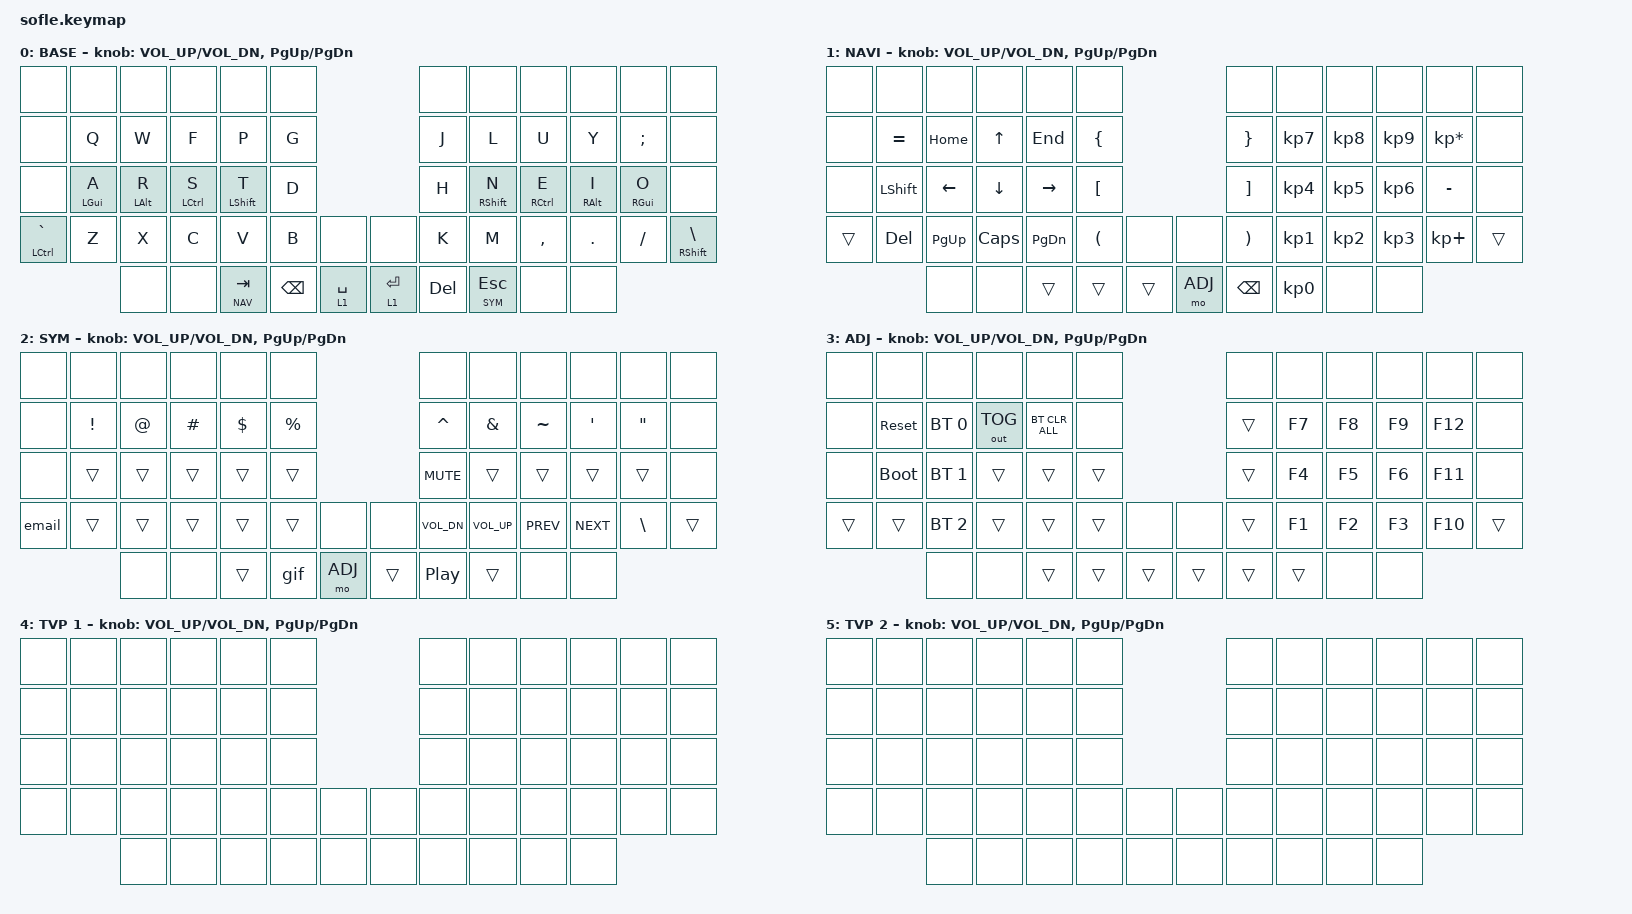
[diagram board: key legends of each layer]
/*
 * Copyright (c) 2020 The ZMK Contributors
 *
 * SPDX-License-Identifier: MIT
 */

#include <behaviors.dtsi>
#include <dt-bindings/zmk/bt.h>
#include <dt-bindings/zmk/keys.h>
#include <dt-bindings/zmk/outputs.h>

#define BASE 0
#define NAV  1
#define SYM  2
#define ADJ  3
#define TVP1 4
#define TVP2 5

&mt {
    global-quick-tap;
    flavor = "tap-preferred";
};

/ {
    combos {
        compatible = "zmk,combos";

        combo_esc {
            timeout-ms = <50>;
            key-positions = <14 13>;
            bindings = <&kp ESC>;
        };

        combo_tvp {
            timeout-ms = <100>;
            key-positions = <26 27 28>;
            bindings = <&tog TVP1>;
        };

        combo_tvp2 {
            bindings = <&tog 5>;
            key-positions = <20 21 19>;
        };
    };

    macros {
        gif: gif {
            label = "giphy";
            compatible = "zmk,behavior-macro";
            #binding-cells = <0>;
            bindings =
                <&macro_press>,
                <&kp LSHFT>,
                <&macro_tap>,
                <&kp N2>,
                <&macro_release>,
                <&kp LSHFT>,
                <&macro_tap>,
                <&kp G &kp I &kp F>;
        };

        email: email {
            compatible = "zmk,behavior-macro";
            #binding-cells = <0>;
            bindings = <&kp B &kp R &kp I &kp A &kp N &kp AT &kp W &kp A &kp L &kp T &kp E &kp R &kp S &kp DOT &kp G &kp U &kp R &kp U>;
            label = "EMAIL";
        };
    };

    keymap {
        compatible = "zmk,keymap";

        // ▄▄▄▄▄▄▄▄▄▄▄▄▄▄▄▄▄▄▄▄▄▄▄▄▄▄▄▄▄▄▄▄▄▄▄▄▄▄▄▄▄▄▄▄▄▄▄▄▄▄▄▄▄▄▄▄▄▄▄▄▄▄▄▄▄▄▄▄▄▄▄▄▄▄▄▄▄▄▄▄▄▄▄▄▄▄▄▄▄▄▄▄▄▄▄▄▄▄▄▄▄▄▄▄▄▄▄▄▄▄▄▄▄▄▄▄▄▄▄▄▄▄▄▄▄▄▄▄▄▄▄▄▄▄▄▄▄▄▄▄▄▄▄▄▄▄▄▄▄

        base_layer {
            // ┏━━━━━━━━━━━━━━━━━━━━━━━━━━━━━━━━━━━━━━━┓

            label = "BASE";

            // ┗━━━━━━━━━━━━━━━━━━━━━━━━━━━━━━━━━━━━━━━┛
            // ┏━━━━━━━━━━━┳━━━━━━━━━━━┳━━━━━━━━━━━┳━━━━━━━━━━━┳━━━━━━━━━━━┳━━━━━━━━━━━┓                           ┏━━━━━━━━━━━┳━━━━━━━━━━━┳━━━━━━━━━━━┳━━━━━━━━━━━┳━━━━━━━━━━━┳━━━━━━━━━━━┓
            // ┃           ┃           ┃           ┃           ┃           ┃           ┃                           ┃           ┃           ┃           ┃           ┃           ┃           ┃
            // ┣━━━━━━━━━━━╋━━━━━━━━━━━╋━━━━━━━━━━━╋━━━━━━━━━━━╋━━━━━━━━━━━╋━━━━━━━━━━━┫                           ┣━━━━━━━━━━━╋━━━━━━━━━━━╋━━━━━━━━━━━╋━━━━━━━━━━━╋━━━━━━━━━━━╋━━━━━━━━━━━┫
            // ┃           ┃     Q     ┃     W     ┃     F     ┃     P     ┃     G     ┃                           ┃     J     ┃     L     ┃     U     ┃     Y     ┃     ;     ┃           ┃
            // ┣━━━━━━━━━━━╋━━━━━━━━━━━╋━━━━━━━━━━━╋━━━━━━━━━━━╋━━━━━━━━━━━╋━━━━━━━━━━━┫                           ┣━━━━━━━━━━━╋━━━━━━━━━━━╋━━━━━━━━━━━╋━━━━━━━━━━━╋━━━━━━━━━━━╋━━━━━━━━━━━┫
            // ┃           ┃     A     ┃     R     ┃     S     ┃     T     ┃     D     ┃                           ┃     H     ┃     N     ┃     E     ┃     I     ┃     O     ┃           ┃
            // ┣━━━━━━━━━━━╋━━━━━━━━━━━╋━━━━━━━━━━━╋━━━━━━━━━━━╋━━━━━━━━━━━╋━━━━━━━━━━━╋━━━━━━━━━━━┓   ┏━━━━━━━━━━━╋━━━━━━━━━━━╋━━━━━━━━━━━╋━━━━━━━━━━━╋━━━━━━━━━━━╋━━━━━━━━━━━╋━━━━━━━━━━━┫
            // ┃     `     ┃     Z     ┃     X     ┃     C     ┃     V     ┃     B     ┃           ┃   ┃           ┃     K     ┃     M     ┃     ,     ┃     .     ┃     /     ┃     \     ┃
            // ┗━━━━━━━━━━━┻━━━━━━━━━━━╋━━━━━━━━━━━╋━━━━━━━━━━━╋━━━━━━━━━━━╋━━━━━━━━━━━╋━━━━━━━━━━━┫   ┣━━━━━━━━━━━╋━━━━━━━━━━━╋━━━━━━━━━━━╋━━━━━━━━━━━╋━━━━━━━━━━━╋━━━━━━━━━━━┻━━━━━━━━━━━┛
            //                         ┃           ┃           ┃    TAB    ┃   BSPC    ┃    SPC    ┃   ┃   ENTER   ┃    DEL    ┃    ESC    ┃           ┃           ┃
            //                         ┗━━━━━━━━━━━┻━━━━━━━━━━━┗━━━━━━━━━━━┻━━━━━━━━━━━┻━━━━━━━━━━━┛   ┗━━━━━━━━━━━┻━━━━━━━━━━━┻━━━━━━━━━━━┻━━━━━━━━━━━┻━━━━━━━━━━━┛

            bindings = <
&none                   &none       &none       &none        &none        &none                               &none    &none        &none        &none       &none       &none
&none                   &kp Q       &kp W       &kp F        &kp P        &kp G                               &kp J    &kp L        &kp U        &kp Y       &kp SEMI    &none
&none                   &mt LGUI A  &mt LALT R  &mt LCTRL S  &mt LSHFT T  &kp D                               &kp H    &mt RSHFT N  &mt RCTRL E  &mt RALT I  &mt RGUI O  &none
&mt LEFT_CONTROL GRAVE  &kp Z       &kp X       &kp C        &kp V        &kp B     &none          &none      &kp K    &kp M        &kp COMMA    &kp DOT     &kp FSLH    &mt RIGHT_SHIFT BACKSLASH
                                    &none       &none        &lt NAV TAB  &kp BSPC  &lt 1 SPACE    &lt 1 RET  &kp DEL  &lt SYM ESC  &none        &none
            >;

            sensor-bindings = <&inc_dec_kp C_VOL_UP C_VOL_DN &inc_dec_kp PG_UP PG_DN>;
        };

        // ▄▄▄▄▄▄▄▄▄▄▄▄▄▄▄▄▄▄▄▄▄▄▄▄▄▄▄▄▄▄▄▄▄▄▄▄▄▄▄▄▄▄▄▄▄▄▄▄▄▄▄▄▄▄▄▄▄▄▄▄▄▄▄▄▄▄▄▄▄▄▄▄▄▄▄▄▄▄▄▄▄▄▄▄▄▄▄▄▄▄▄▄▄▄▄▄▄▄▄▄▄▄▄▄▄▄▄▄▄▄▄▄▄▄▄▄▄▄▄▄▄▄▄▄▄▄▄▄▄▄▄▄▄▄▄▄▄▄▄▄▄▄▄▄▄▄▄▄▄

        nav_layer {
            // ┏━━━━━━━━━━━━━━━━━━━━━━━━━━━━━━━━━━━━━━━┓

            label = "NAVI";

            // ┗━━━━━━━━━━━━━━━━━━━━━━━━━━━━━━━━━━━━━━━┛
            // ┏━━━━━━━━━━━┳━━━━━━━━━━━┳━━━━━━━━━━━┳━━━━━━━━━━━┳━━━━━━━━━━━┳━━━━━━━━━━━┓                           ┏━━━━━━━━━━━┳━━━━━━━━━━━┳━━━━━━━━━━━┳━━━━━━━━━━━┳━━━━━━━━━━━┳━━━━━━━━━━━┓
            // ┃           ┃           ┃           ┃           ┃           ┃           ┃                           ┃           ┃           ┃           ┃           ┃           ┃           ┃
            // ┣━━━━━━━━━━━┣━━━━━━━━━━━╋━━━━━━━━━━━╋━━━━━━━━━━━╋━━━━━━━━━━━╋━━━━━━━━━━━┫                           ┣━━━━━━━━━━━╋━━━━━━━━━━━╋━━━━━━━━━━━╋━━━━━━━━━━━╋━━━━━━━━━━━╋━━━━━━━━━━━┫
            // ┃           ┃           ┃   HOME    ┃     UP    ┃    END    ┃     {     ┃                           ┃     }     ┃     7     ┃     8     ┃     9     ┃     +     ┃           ┃
            // ┣━━━━━━━━━━━╋━━━━━━━━━━━╋━━━━━━━━━━━╋━━━━━━━━━━━╋━━━━━━━━━━━╋━━━━━━━━━━━┫                           ┣━━━━━━━━━━━╋━━━━━━━━━━━╋━━━━━━━━━━━╋━━━━━━━━━━━╋━━━━━━━━━━━╋━━━━━━━━━━━┫
            // ┃           ┃   SHIFT   ┃   LEFT    ┃    DOWN   ┃   RIGHT   ┃     [     ┃                           ┃     ]     ┃     4     ┃     5     ┃     6     ┃     -     ┃           ┃
            // ┣━━━━━━━━━━━╋━━━━━━━━━━━╋━━━━━━━━━━━╋━━━━━━━━━━━╋━━━━━━━━━━━╋━━━━━━━━━━━╋━━━━━━━━━━━┓   ┏━━━━━━━━━━━╋━━━━━━━━━━━╋━━━━━━━━━━━╋━━━━━━━━━━━╋━━━━━━━━━━━╋━━━━━━━━━━━╋━━━━━━━━━━━┫
            // ┃           ┃           ┃   P UP    ┃  C LOCK   ┃  P DOWN   ┃     (     ┃           ┃   ┃           ┃     )     ┃     1     ┃     2     ┃     3     ┃     *     ┃           ┃
            // ┗━━━━━━━━━━━┻━━━━━━━━━━━╋━━━━━━━━━━━╋━━━━━━━━━━━╋━━━━━━━━━━━╋━━━━━━━━━━━╋━━━━━━━━━━━┫   ┣━━━━━━━━━━━╋━━━━━━━━━━━╋━━━━━━━━━━━╋━━━━━━━━━━━╋━━━━━━━━━━━╋━━━━━━━━━━━┻━━━━━━━━━━━┛
            //                         ┃           ┃           ┃    TAB    ┃    BSPC   ┃    SPC    ┃   ┃   ENTER   ┃    DEL    ┃     0     ┃           ┃           ┃
            //                         ┗━━━━━━━━━━━┻━━━━━━━━━━━┻━━━━━━━━━━━┻━━━━━━━━━━━┻━━━━━━━━━━━┛   ┗━━━━━━━━━━━┻━━━━━━━━━━━┻━━━━━━━━━━━┻━━━━━━━━━━━┻━━━━━━━━━━━┛

            bindings = <
&none   &none       &none           &none     &none            &none                        &none          &none      &none      &none      &none            &none
&none   &kp EQUAL   &kp HOME        &kp UP    &kp END          &kp LBRC                     &kp RBRC       &kp KP_N7  &kp KP_N8  &kp KP_N9  &kp KP_MULTIPLY  &none
&none   &kp LSHFT   &kp LEFT_ARROW  &kp DOWN  &kp RIGHT_ARROW  &kp LBKT                     &kp RBKT       &kp KP_N4  &kp KP_N5  &kp KP_N6  &kp MINUS        &none
&trans  &kp DELETE  &kp PG_UP       &kp CAPS  &kp PG_DN        &kp LPAR  &none     &none    &kp RPAR       &kp KP_N1  &kp KP_N2  &kp KP_N3  &kp KP_PLUS      &trans
                    &none           &none     &trans           &trans    &trans    &mo ADJ  &kp BACKSPACE  &kp KP_N0  &none      &none
            >;

            sensor-bindings = <&inc_dec_kp C_VOL_UP C_VOL_DN &inc_dec_kp PG_UP PG_DN>;
        };

        // ▄▄▄▄▄▄▄▄▄▄▄▄▄▄▄▄▄▄▄▄▄▄▄▄▄▄▄▄▄▄▄▄▄▄▄▄▄▄▄▄▄▄▄▄▄▄▄▄▄▄▄▄▄▄▄▄▄▄▄▄▄▄▄▄▄▄▄▄▄▄▄▄▄▄▄▄▄▄▄▄▄▄▄▄▄▄▄▄▄▄▄▄▄▄▄▄▄▄▄▄▄▄▄▄▄▄▄▄▄▄▄▄▄▄▄▄▄▄▄▄▄▄▄▄▄▄▄▄▄▄▄▄▄▄▄▄▄▄▄▄▄▄▄▄▄▄▄▄▄

        sim_layer {
            // ┏━━━━━━━━━━━━━━━━━━━━━━━━━━━━━━━━━━━━━━━┓

            label = "SYM";

            // ┗━━━━━━━━━━━━━━━━━━━━━━━━━━━━━━━━━━━━━━━┛
            // ┏━━━━━━━━━━━┳━━━━━━━━━━━┳━━━━━━━━━━━┳━━━━━━━━━━━┳━━━━━━━━━━━┳━━━━━━━━━━━┓                           ┏━━━━━━━━━━━┳━━━━━━━━━━━┳━━━━━━━━━━━┳━━━━━━━━━━━┳━━━━━━━━━━━┳━━━━━━━━━━━┓
            // ┃           ┃           ┃           ┃           ┃           ┃           ┃                           ┃           ┃           ┃           ┃           ┃           ┃           ┃
            // ┣━━━━━━━━━━━┣━━━━━━━━━━━╋━━━━━━━━━━━╋━━━━━━━━━━━╋━━━━━━━━━━━╋━━━━━━━━━━━┫                           ┣━━━━━━━━━━━╋━━━━━━━━━━━╋━━━━━━━━━━━╋━━━━━━━━━━━╋━━━━━━━━━━━╋━━━━━━━━━━━┫
            // ┃           ┃     !     ┃     @     ┃     #     ┃     $     ┃     %     ┃                           ┃     ˆ     ┃     &     ┃     ~     ┃     '     ┃     "     ┃           ┃
            // ┣━━━━━━━━━━━╋━━━━━━━━━━━╋━━━━━━━━━━━╋━━━━━━━━━━━╋━━━━━━━━━━━╋━━━━━━━━━━━┫                           ┣━━━━━━━━━━━╋━━━━━━━━━━━╋━━━━━━━━━━━╋━━━━━━━━━━━╋━━━━━━━━━━━╋━━━━━━━━━━━┫
            // ┃           ┃           ┃           ┃           ┃           ┃           ┃                           ┃   MUTE    ┃           ┃           ┃           ┃     Ö     ┃           ┃
            // ┣━━━━━━━━━━━╋━━━━━━━━━━━╋━━━━━━━━━━━╋━━━━━━━━━━━╋━━━━━━━━━━━╋━━━━━━━━━━━╋━━━━━━━━━━━┓   ┏━━━━━━━━━━━╋━━━━━━━━━━━╋━━━━━━━━━━━╋━━━━━━━━━━━╋━━━━━━━━━━━╋━━━━━━━━━━━╋━━━━━━━━━━━┫
            // ┃           ┃           ┃           ┃           ┃           ┃           ┃           ┃   ┃           ┃   VOL-    ┃   VOL+    ┃   LAST    ┃   NEXT    ┃     \     ┃           ┃
            // ┗━━━━━━━━━━━┻━━━━━━━━━━━╋━━━━━━━━━━━╋━━━━━━━━━━━╋━━━━━━━━━━━╋━━━━━━━━━━━╋━━━━━━━━━━━┫   ┣━━━━━━━━━━━╋━━━━━━━━━━━╋━━━━━━━━━━━╋━━━━━━━━━━━╋━━━━━━━━━━━╋━━━━━━━━━━━┻━━━━━━━━━━━┛
            //                         ┃           ┃           ┃           ┃    GIF    ┃    ADJ    ┃   ┃           ┃   PLAY    ┃           ┃           ┃           ┃
            //                         ┗━━━━━━━━━━━┻━━━━━━━━━━━┻━━━━━━━━━━━┻━━━━━━━━━━━┻━━━━━━━━━━━┛   ┗━━━━━━━━━━━┻━━━━━━━━━━━┻━━━━━━━━━━━┻━━━━━━━━━━━┻━━━━━━━━━━━┛ 

            bindings = <
&none   &none     &none   &none     &none     &none                         &none         &none         &none       &none       &none     &none
&none   &kp EXCL  &kp AT  &kp HASH  &kp DLLR  &kp PRCNT                     &kp CARET     &kp AMPS      &kp TILDE   &kp SQT     &kp DQT   &none
&none   &trans    &trans  &trans    &trans    &trans                        &kp C_MUTE    &trans        &trans      &trans      &trans    &none
&email  &trans    &trans  &trans    &trans    &trans     &none      &none   &kp C_VOL_DN  &kp C_VOL_UP  &kp C_PREV  &kp C_NEXT  &kp BSLH  &trans
                  &none   &none     &trans    &gif       &mo ADJ    &trans  &kp C_PP      &trans        &none       &none
            >;

            sensor-bindings = <&inc_dec_kp C_VOL_UP C_VOL_DN &inc_dec_kp PG_UP PG_DN>;
        };

        // ▄▄▄▄▄▄▄▄▄▄▄▄▄▄▄▄▄▄▄▄▄▄▄▄▄▄▄▄▄▄▄▄▄▄▄▄▄▄▄▄▄▄▄▄▄▄▄▄▄▄▄▄▄▄▄▄▄▄▄▄▄▄▄▄▄▄▄▄▄▄▄▄▄▄▄▄▄▄▄▄▄▄▄▄▄▄▄▄▄▄▄▄▄▄▄▄▄▄▄▄▄▄▄▄▄▄▄▄▄▄▄▄▄▄▄▄▄▄▄▄▄▄▄▄▄▄▄▄▄▄▄▄▄▄▄▄▄▄▄▄▄▄▄▄▄▄▄▄▄

        adjust_layer {
            // ┏━━━━━━━━━━━━━━━━━━━━━━━━━━━━━━━━━━━━━━━┓

            label = "ADJ";

            // ┗━━━━━━━━━━━━━━━━━━━━━━━━━━━━━━━━━━━━━━━┛
            // ┏━━━━━━━━━━━┳━━━━━━━━━━━┳━━━━━━━━━━━┳━━━━━━━━━━━┳━━━━━━━━━━━┳━━━━━━━━━━━┓                           ┏━━━━━━━━━━━┳━━━━━━━━━━━┳━━━━━━━━━━━┳━━━━━━━━━━━┳━━━━━━━━━━━┳━━━━━━━━━━━┓
            // ┃           ┃           ┃           ┃           ┃           ┃           ┃                           ┃           ┃           ┃           ┃           ┃           ┃           ┃
            // ┣━━━━━━━━━━━┣━━━━━━━━━━━╋━━━━━━━━━━━╋━━━━━━━━━━━╋━━━━━━━━━━━╋━━━━━━━━━━━┫                           ┣━━━━━━━━━━━╋━━━━━━━━━━━╋━━━━━━━━━━━╋━━━━━━━━━━━╋━━━━━━━━━━━╋━━━━━━━━━━━┫
            // ┃           ┃   RESET   ┃ BT SEL 0  ┃  OUT TOG  ┃ BT CLR ALL┃           ┃                           ┃           ┃    F7     ┃    F8     ┃    F9     ┃    F12    ┃           ┃
            // ┣━━━━━━━━━━━╋━━━━━━━━━━━╋━━━━━━━━━━━╋━━━━━━━━━━━╋━━━━━━━━━━━╋━━━━━━━━━━━┫                           ┣━━━━━━━━━━━╋━━━━━━━━━━━╋━━━━━━━━━━━╋━━━━━━━━━━━╋━━━━━━━━━━━╋━━━━━━━━━━━┫
            // ┃           ┃ BOOTLOAD  ┃ BT SEL 1  ┃           ┃           ┃           ┃                           ┃           ┃    F4     ┃    F5     ┃    F6     ┃    F11    ┃           ┃
            // ┣━━━━━━━━━━━╋━━━━━━━━━━━╋━━━━━━━━━━━╋━━━━━━━━━━━╋━━━━━━━━━━━╋━━━━━━━━━━━╋━━━━━━━━━━━┓   ┏━━━━━━━━━━━╋━━━━━━━━━━━╋━━━━━━━━━━━╋━━━━━━━━━━━╋━━━━━━━━━━━╋━━━━━━━━━━━╋━━━━━━━━━━━┫
            // ┃           ┃           ┃ BT SEL 2  ┃           ┃           ┃           ┃           ┃   ┃           ┃           ┃    F1     ┃    F2     ┃    F3     ┃    F10    ┃           ┃
            // ┗━━━━━━━━━━━┻━━━━━━━━━━━╋━━━━━━━━━━━╋━━━━━━━━━━━╋━━━━━━━━━━━╋━━━━━━━━━━━╋━━━━━━━━━━━┫   ┣━━━━━━━━━━━╋━━━━━━━━━━━╋━━━━━━━━━━━╋━━━━━━━━━━━╋━━━━━━━━━━━╋━━━━━━━━━━━┻━━━━━━━━━━━┛
            //                         ┃           ┃           ┃           ┃           ┃           ┃   ┃           ┃           ┃           ┃           ┃           ┃
            //                         ┗━━━━━━━━━━━┻━━━━━━━━━━━┻━━━━━━━━━━━┻━━━━━━━━━━━┻━━━━━━━━━━━┛   ┗━━━━━━━━━━━┻━━━━━━━━━━━┻━━━━━━━━━━━┻━━━━━━━━━━━┻━━━━━━━━━━━┛ 

            bindings = <
&none   &none        &none         &none         &none           &none                     &none   &none   &none   &none   &none    &none
&none   &sys_reset   &bt BT_SEL 0  &out OUT_TOG  &bt BT_CLR_ALL  &none                     &trans  &kp F7  &kp F8  &kp F9  &kp F12  &none
&none   &bootloader  &bt BT_SEL 1  &trans        &trans          &trans                    &trans  &kp F4  &kp F5  &kp F6  &kp F11  &none
&trans  &trans       &bt BT_SEL 2  &trans        &trans          &trans  &none     &none   &trans  &kp F1  &kp F2  &kp F3  &kp F10  &trans
                     &none         &none         &trans          &trans  &trans    &trans  &trans  &trans  &none   &none
            >;

            sensor-bindings = <&inc_dec_kp C_VOL_UP C_VOL_DN &inc_dec_kp PG_UP PG_DN>;
        };

        // ▄▄▄▄▄▄▄▄▄▄▄▄▄▄▄▄▄▄▄▄▄▄▄▄▄▄▄▄▄▄▄▄▄▄▄▄▄▄▄▄▄▄▄▄▄▄▄▄▄▄▄▄▄▄▄▄▄▄▄▄▄▄▄▄▄▄▄▄▄▄▄▄▄▄▄▄▄▄▄▄▄▄▄▄▄▄▄▄▄▄▄▄▄▄▄▄▄▄▄▄▄▄▄▄▄▄▄▄▄▄▄▄▄▄▄▄▄▄▄▄▄▄▄▄▄▄▄▄▄▄▄▄▄▄▄▄▄▄▄▄▄▄▄▄▄▄▄▄▄

        tvp1_layer {
            // ┏━━━━━━━━━━━━━━━━━━━━━━━━━━━━━━━━━━━━━━━┓

            label = "TVP 1";

            // ┗━━━━━━━━━━━━━━━━━━━━━━━━━━━━━━━━━━━━━━━┛
            // ┏━━━━━━━━━━━┳━━━━━━━━━━━┳━━━━━━━━━━━┳━━━━━━━━━━━┳━━━━━━━━━━━┳━━━━━━━━━━━┓                           ┏━━━━━━━━━━━┳━━━━━━━━━━━┳━━━━━━━━━━━┳━━━━━━━━━━━┳━━━━━━━━━━━┳━━━━━━━━━━━┓
            // ┃           ┃           ┃           ┃           ┃           ┃           ┃                           ┃           ┃           ┃           ┃           ┃           ┃           ┃
            // ┣━━━━━━━━━━━┣━━━━━━━━━━━╋━━━━━━━━━━━╋━━━━━━━━━━━╋━━━━━━━━━━━╋━━━━━━━━━━━┫                           ┣━━━━━━━━━━━╋━━━━━━━━━━━╋━━━━━━━━━━━╋━━━━━━━━━━━╋━━━━━━━━━━━╋━━━━━━━━━━━┫
            // ┃           ┃           ┃           ┃           ┃           ┃           ┃                           ┃           ┃           ┃           ┃           ┃           ┃           ┃
            // ┣━━━━━━━━━━━╋━━━━━━━━━━━╋━━━━━━━━━━━╋━━━━━━━━━━━╋━━━━━━━━━━━╋━━━━━━━━━━━┫                           ┣━━━━━━━━━━━╋━━━━━━━━━━━╋━━━━━━━━━━━╋━━━━━━━━━━━╋━━━━━━━━━━━╋━━━━━━━━━━━┫
            // ┃           ┃           ┃           ┃           ┃           ┃           ┃                           ┃           ┃           ┃           ┃           ┃           ┃           ┃
            // ┣━━━━━━━━━━━╋━━━━━━━━━━━╋━━━━━━━━━━━╋━━━━━━━━━━━╋━━━━━━━━━━━╋━━━━━━━━━━━╋━━━━━━━━━━━┓   ┏━━━━━━━━━━━╋━━━━━━━━━━━╋━━━━━━━━━━━╋━━━━━━━━━━━╋━━━━━━━━━━━╋━━━━━━━━━━━╋━━━━━━━━━━━┫
            // ┃           ┃           ┃           ┃           ┃           ┃           ┃           ┃   ┃           ┃           ┃           ┃           ┃           ┃           ┃           ┃
            // ┗━━━━━━━━━━━┻━━━━━━━━━━━╋━━━━━━━━━━━╋━━━━━━━━━━━╋━━━━━━━━━━━╋━━━━━━━━━━━╋━━━━━━━━━━━┫   ┣━━━━━━━━━━━╋━━━━━━━━━━━╋━━━━━━━━━━━╋━━━━━━━━━━━╋━━━━━━━━━━━╋━━━━━━━━━━━┻━━━━━━━━━━━┛
            //                         ┃           ┃           ┃           ┃           ┃           ┃   ┃           ┃           ┃           ┃           ┃           ┃
            //                         ┗━━━━━━━━━━━┻━━━━━━━━━━━┻━━━━━━━━━━━┻━━━━━━━━━━━┻━━━━━━━━━━━┛   ┗━━━━━━━━━━━┻━━━━━━━━━━━┻━━━━━━━━━━━┻━━━━━━━━━━━┻━━━━━━━━━━━┛ 

            bindings = <
&none  &none  &none  &none  &none  &none                  &none  &none  &none  &none  &none  &none
&none  &none  &none  &none  &none  &none                  &none  &none  &none  &none  &none  &none
&none  &none  &none  &none  &none  &none                  &none  &none  &none  &none  &none  &none
&none  &none  &none  &none  &none  &none  &none    &none  &none  &none  &none  &none  &none  &none
              &none  &none  &none  &none  &none    &none  &none  &none  &none  &none
            >;

            sensor-bindings = <&inc_dec_kp C_VOL_UP C_VOL_DN &inc_dec_kp PG_UP PG_DN>;
        };

        // ▄▄▄▄▄▄▄▄▄▄▄▄▄▄▄▄▄▄▄▄▄▄▄▄▄▄▄▄▄▄▄▄▄▄▄▄▄▄▄▄▄▄▄▄▄▄▄▄▄▄▄▄▄▄▄▄▄▄▄▄▄▄▄▄▄▄▄▄▄▄▄▄▄▄▄▄▄▄▄▄▄▄▄▄▄▄▄▄▄▄▄▄▄▄▄▄▄▄▄▄▄▄▄▄▄▄▄▄▄▄▄▄▄▄▄▄▄▄▄▄▄▄▄▄▄▄▄▄▄▄▄▄▄▄▄▄▄▄▄▄▄▄▄▄▄▄▄▄▄

        tvp2_layer {
            // ┏━━━━━━━━━━━━━━━━━━━━━━━━━━━━━━━━━━━━━━━┓

            label = "TVP 2";

            // ┗━━━━━━━━━━━━━━━━━━━━━━━━━━━━━━━━━━━━━━━┛
            // ┏━━━━━━━━━━━┳━━━━━━━━━━━┳━━━━━━━━━━━┳━━━━━━━━━━━┳━━━━━━━━━━━┳━━━━━━━━━━━┓                           ┏━━━━━━━━━━━┳━━━━━━━━━━━┳━━━━━━━━━━━┳━━━━━━━━━━━┳━━━━━━━━━━━┳━━━━━━━━━━━┓
            // ┃           ┃           ┃           ┃           ┃           ┃           ┃                           ┃           ┃           ┃           ┃           ┃           ┃           ┃
            // ┣━━━━━━━━━━━┣━━━━━━━━━━━╋━━━━━━━━━━━╋━━━━━━━━━━━╋━━━━━━━━━━━╋━━━━━━━━━━━┫                           ┣━━━━━━━━━━━╋━━━━━━━━━━━╋━━━━━━━━━━━╋━━━━━━━━━━━╋━━━━━━━━━━━╋━━━━━━━━━━━┫
            // ┃           ┃           ┃           ┃           ┃           ┃           ┃                           ┃           ┃           ┃           ┃           ┃           ┃           ┃
            // ┣━━━━━━━━━━━╋━━━━━━━━━━━╋━━━━━━━━━━━╋━━━━━━━━━━━╋━━━━━━━━━━━╋━━━━━━━━━━━┫                           ┣━━━━━━━━━━━╋━━━━━━━━━━━╋━━━━━━━━━━━╋━━━━━━━━━━━╋━━━━━━━━━━━╋━━━━━━━━━━━┫
            // ┃           ┃           ┃           ┃           ┃           ┃           ┃                           ┃           ┃           ┃           ┃           ┃           ┃           ┃
            // ┣━━━━━━━━━━━╋━━━━━━━━━━━╋━━━━━━━━━━━╋━━━━━━━━━━━╋━━━━━━━━━━━╋━━━━━━━━━━━╋━━━━━━━━━━━┓   ┏━━━━━━━━━━━╋━━━━━━━━━━━╋━━━━━━━━━━━╋━━━━━━━━━━━╋━━━━━━━━━━━╋━━━━━━━━━━━╋━━━━━━━━━━━┫
            // ┃           ┃           ┃           ┃           ┃           ┃           ┃           ┃   ┃           ┃           ┃           ┃           ┃           ┃           ┃           ┃
            // ┗━━━━━━━━━━━┻━━━━━━━━━━━╋━━━━━━━━━━━╋━━━━━━━━━━━╋━━━━━━━━━━━╋━━━━━━━━━━━╋━━━━━━━━━━━┫   ┣━━━━━━━━━━━╋━━━━━━━━━━━╋━━━━━━━━━━━╋━━━━━━━━━━━╋━━━━━━━━━━━╋━━━━━━━━━━━┻━━━━━━━━━━━┛
            //                         ┃           ┃           ┃           ┃           ┃           ┃   ┃           ┃           ┃           ┃           ┃           ┃
            //                         ┗━━━━━━━━━━━┻━━━━━━━━━━━┻━━━━━━━━━━━┻━━━━━━━━━━━┻━━━━━━━━━━━┛   ┗━━━━━━━━━━━┻━━━━━━━━━━━┻━━━━━━━━━━━┻━━━━━━━━━━━┻━━━━━━━━━━━┛ 

            bindings = <
&none  &none  &none  &none  &none  &none                  &none  &none  &none  &none  &none  &none
&none  &none  &none  &none  &none  &none                  &none  &none  &none  &none  &none  &none
&none  &none  &none  &none  &none  &none                  &none  &none  &none  &none  &none  &none
&none  &none  &none  &none  &none  &none  &none    &none  &none  &none  &none  &none  &none  &none
              &none  &none  &none  &none  &none    &none  &none  &none  &none  &none
            >;

            sensor-bindings = <&inc_dec_kp C_VOL_UP C_VOL_DN &inc_dec_kp PG_UP PG_DN>;
        };
    };
};
